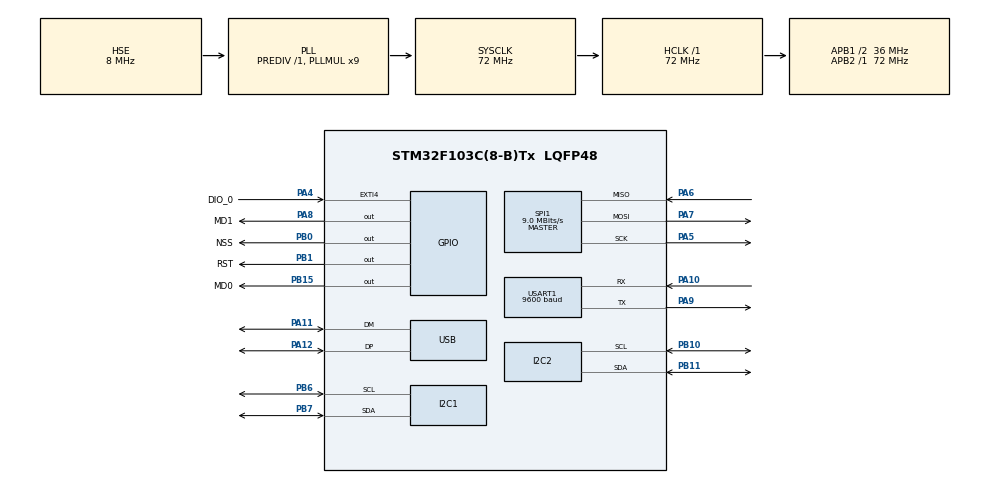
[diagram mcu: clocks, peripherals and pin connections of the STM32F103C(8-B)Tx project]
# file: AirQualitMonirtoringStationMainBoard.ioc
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Mcu.Family=STM32F1
Mcu.Name=STM32F103C(8-B)Tx
Mcu.Package=LQFP48
NVIC.EXTI4_IRQn=true\:0\:0\:false\:false\:true\:true\:true\:true
NVIC.PriorityGroup=NVIC_PRIORITYGROUP_4
NVIC.USB_LP_CAN1_RX0_IRQn=true\:0\:0\:false\:false\:true\:false\:true\:true
PA10.Mode=Asynchronous
PA10.Signal=USART1_RX
PA11.Mode=Device
PA11.Signal=USB_DM
PA12.Mode=Device
PA12.Signal=USB_DP
PA13.Mode=Serial_Wire
PA13.Signal=SYS_JTMS-SWDIO
PA14.Mode=Serial_Wire
PA14.Signal=SYS_JTCK-SWCLK
PA4.GPIO_Label=DIO_0
PA4.Signal=GPXTI4
PA5.Mode=Full_Duplex_Master
PA5.Signal=SPI1_SCK
PA6.Mode=Full_Duplex_Master
PA6.Signal=SPI1_MISO
PA7.Mode=Full_Duplex_Master
PA7.Signal=SPI1_MOSI
PA8.GPIO_Label=MD1
PA8.Signal=GPIO_Output
PA9.Mode=Asynchronous
PA9.Signal=USART1_TX
PB0.GPIO_Label=NSS
PB0.PinState=GPIO_PIN_SET
PB0.Signal=GPIO_Output
PB1.GPIO_Label=RST
PB1.PinState=GPIO_PIN_SET
PB1.Signal=GPIO_Output
PB10.Mode=I2C
PB10.Signal=I2C2_SCL
PB11.Mode=I2C
PB11.Signal=I2C2_SDA
PB15.GPIO_Label=MD0
PB15.Signal=GPIO_Output
PB6.Mode=I2C
PB6.Signal=I2C1_SCL
PB7.Mode=I2C
PB7.Signal=I2C1_SDA
PD0-OSC_IN.Mode=HSE-External-Oscillator
PD0-OSC_IN.Signal=RCC_OSC_IN
PD1-OSC_OUT.Mode=HSE-External-Oscillator
PD1-OSC_OUT.Signal=RCC_OSC_OUT
ProjectManager.HeapSize=0x200
ProjectManager.StackSize=0x400
ProjectManager.TargetToolchain=STM32CubeIDE
RCC.AHBFreq_Value=72000000
RCC.APB1CLKDivider=RCC_HCLK_DIV2
RCC.APB1Freq_Value=36000000
RCC.APB1TimFreq_Value=72000000
RCC.APB2Freq_Value=72000000
RCC.APB2TimFreq_Value=72000000
RCC.HCLKFreq_Value=72000000
RCC.PLLMUL=RCC_PLL_MUL9
RCC.SYSCLKFreq_VALUE=72000000
RCC.SYSCLKSource=RCC_SYSCLKSOURCE_PLLCLK
RCC.USBFreq_Value=48000000
RCC.USBPrescaler=RCC_USBCLKSOURCE_PLL_DIV1_5
SPI1.BaudRatePrescaler=SPI_BAUDRATEPRESCALER_8
SPI1.CalculateBaudRate=9.0 MBits/s
SPI1.Direction=SPI_DIRECTION_2LINES
SPI1.Mode=SPI_MODE_MASTER
SPI1.VirtualType=VM_MASTER
USART1.BaudRate=9600
USART1.VirtualMode=VM_ASYNC
USB_DEVICE.CLASS_NAME_FS=CDC
USB_DEVICE.VirtualMode=Cdc
USB_DEVICE.VirtualModeFS=Cdc_FS
VP_USB_DEVICE_VS_USB_DEVICE_CDC_FS.Mode=CDC_FS
board=custom

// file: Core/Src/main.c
/* USER CODE BEGIN Header */
/**
  ******************************************************************************
  * @file           : main.c
  * @brief          : Main program body
  ******************************************************************************
  * @attention
  *
  * Copyright (c) 2023 STMicroelectronics.
  * All rights reserved.
  *
  * This software is licensed under terms that can be found in the LICENSE file
  * in the root directory of this software component.
  * If no LICENSE file comes with this software, it is provided AS-IS.
  *
  ******************************************************************************
  */
/* USER CODE END Header */
#include "main.h"
#include "usb_device.h"

/* USER CODE BEGIN Includes */
#include "CommandConfig.h"
#include "Command.h"
#include "LCD.h"
#include "LCDConfig.h"
#include "Communication.h"
#include "Geometry.h"
#include "string.h"
#include "SensorList.h"
#include "LoRa.h"
#include "MainProcess.h"
//#include "sx1278.h"
//#include "SX1278.h"
/* USER CODE END Includes */

I2C_HandleTypeDef hi2c1;
I2C_HandleTypeDef hi2c2;

SPI_HandleTypeDef hspi1;

UART_HandleTypeDef huart1;

/* USER CODE BEGIN PV */
uint8_t u8RxData = 0;
Communication_Instance *sGeometry;
uint8_t u8DataIndex = 0;
char chStationId[ID_LENGTH] = "504e6df9-dc91-4557-8059-8caf386825cc";
uint32_t u32UpdateTime = 25;

//lora_pins_t lora_pins;												// Structure variable for lora pins
//lora_t lora;
//uint8_t lora_status;

/* USER CODE END PV */

void SystemClock_Config(void);
static void MX_GPIO_Init(void);
static void MX_I2C1_Init(void);
static void MX_I2C2_Init(void);
static void MX_SPI1_Init(void);
static void MX_USART1_UART_Init(void);

int main(void)
{

  /* MCU Configuration--------------------------------------------------------*/

  /* Reset of all peripherals, Initializes the Flash interface and the Systick. */
  HAL_Init();

  /* Configure the system clock */
  SystemClock_Config();

  /* Initialize all configured peripherals */
  MX_GPIO_Init();
  MX_USB_DEVICE_Init();
  MX_I2C1_Init();
  MX_I2C2_Init();
  MX_SPI1_Init();
  MX_USART1_UART_Init();
  /* USER CODE BEGIN 2 */

  LCD_GlobalOff();
  LoRa_Init(&huart1, MD0_GPIO_Port, MD0_Pin, MD1_GPIO_Port, MD1_Pin);

  Command_Init();
  Command_RegisterDefaultCallback(Command_DefaultResponse);
  Command_Register("lcd", Command_LCDCommandResponse, "Lcd command: "
		  "Action:\n"
		  "\tClear: Clear all text in the screen\n"
		  "\tTest: Send a \"LCD Testing\""
		  "\tReset: Reset the LCD");
  Command_Register("i2c", Command_I2CCommandResponse, "I2c command: "
		  "Action:\n"
		  "\tArgument:\n"
		  "\t\tAddress: 2 characters\n"
		  "\t\tValue: string");
  Command_Register("sensors", Command_SensorsCommandResponse, "Sensors command: "
  		  "Action:\n"
  		  "\tCount\n");
  Command_Register("lora", Command_LoRaCommandResponse, "LoRa command: "
		  "Send:\n");
  Command_Register("spi", Command_SPICommandResponse, "SPI command: read");
  Command_Register("main", Command_MainCommandResponse, "Main command");

  LCD_SetAddress(0x4e);
  LCD_SetSendI2CData(I2CSendData);
  HAL_Delay(50);
  LCD_Init();
  HAL_Delay(50);
  LCD_Init();
  HAL_Delay(50);
  LCD_Init();
  LCD_Clear();

  Sensors_Init();
  InitializeSuccess();
  /* USER CODE END 2 */

  /* Infinite loop */
  /* USER CODE BEGIN WHILE */
  while (1)
  {
	  Command_Update();
	  MainProcess();
//	  Communication_Update(sGeometry);

    /* USER CODE END WHILE */

  }
}

void SystemClock_Config(void)
{
  RCC_OscInitTypeDef RCC_OscInitStruct = {0};
  RCC_ClkInitTypeDef RCC_ClkInitStruct = {0};
  RCC_PeriphCLKInitTypeDef PeriphClkInit = {0};

  /** Initializes the RCC Oscillators according to the specified parameters
  * in the RCC_OscInitTypeDef structure.
  */
  RCC_OscInitStruct.OscillatorType = RCC_OSCILLATORTYPE_HSE;
  RCC_OscInitStruct.HSEState = RCC_HSE_ON;
  RCC_OscInitStruct.HSEPredivValue = RCC_HSE_PREDIV_DIV1;
  RCC_OscInitStruct.HSIState = RCC_HSI_ON;
  RCC_OscInitStruct.PLL.PLLState = RCC_PLL_ON;
  RCC_OscInitStruct.PLL.PLLSource = RCC_PLLSOURCE_HSE;
  RCC_OscInitStruct.PLL.PLLMUL = RCC_PLL_MUL9;
  if (HAL_RCC_OscConfig(&RCC_OscInitStruct) != HAL_OK)
  {
    Error_Handler();
  }

  /** Initializes the CPU, AHB and APB buses clocks
  */
  RCC_ClkInitStruct.ClockType = RCC_CLOCKTYPE_HCLK|RCC_CLOCKTYPE_SYSCLK
                              |RCC_CLOCKTYPE_PCLK1|RCC_CLOCKTYPE_PCLK2;
  RCC_ClkInitStruct.SYSCLKSource = RCC_SYSCLKSOURCE_PLLCLK;
  RCC_ClkInitStruct.AHBCLKDivider = RCC_SYSCLK_DIV1;
  RCC_ClkInitStruct.APB1CLKDivider = RCC_HCLK_DIV2;
  RCC_ClkInitStruct.APB2CLKDivider = RCC_HCLK_DIV1;

  if (HAL_RCC_ClockConfig(&RCC_ClkInitStruct, FLASH_LATENCY_2) != HAL_OK)
  {
    Error_Handler();
  }
  PeriphClkInit.PeriphClockSelection = RCC_PERIPHCLK_USB;
  PeriphClkInit.UsbClockSelection = RCC_USBCLKSOURCE_PLL_DIV1_5;
  if (HAL_RCCEx_PeriphCLKConfig(&PeriphClkInit) != HAL_OK)
  {
    Error_Handler();
  }
}

static void MX_I2C1_Init(void)
{

  hi2c1.Instance = I2C1;
  hi2c1.Init.ClockSpeed = 100000;
  hi2c1.Init.DutyCycle = I2C_DUTYCYCLE_2;
  hi2c1.Init.OwnAddress1 = 0;
  hi2c1.Init.AddressingMode = I2C_ADDRESSINGMODE_7BIT;
  hi2c1.Init.DualAddressMode = I2C_DUALADDRESS_DISABLE;
  hi2c1.Init.OwnAddress2 = 0;
  hi2c1.Init.GeneralCallMode = I2C_GENERALCALL_DISABLE;
  hi2c1.Init.NoStretchMode = I2C_NOSTRETCH_DISABLE;
  if (HAL_I2C_Init(&hi2c1) != HAL_OK)
  {
    Error_Handler();
  }

}

static void MX_I2C2_Init(void)
{

  hi2c2.Instance = I2C2;
  hi2c2.Init.ClockSpeed = 100000;
  hi2c2.Init.DutyCycle = I2C_DUTYCYCLE_2;
  hi2c2.Init.OwnAddress1 = 0;
  hi2c2.Init.AddressingMode = I2C_ADDRESSINGMODE_7BIT;
  hi2c2.Init.DualAddressMode = I2C_DUALADDRESS_DISABLE;
  hi2c2.Init.OwnAddress2 = 0;
  hi2c2.Init.GeneralCallMode = I2C_GENERALCALL_DISABLE;
  hi2c2.Init.NoStretchMode = I2C_NOSTRETCH_DISABLE;
  if (HAL_I2C_Init(&hi2c2) != HAL_OK)
  {
    Error_Handler();
  }

}

static void MX_SPI1_Init(void)
{

  /* SPI1 parameter configuration*/
  hspi1.Instance = SPI1;
  hspi1.Init.Mode = SPI_MODE_MASTER;
  hspi1.Init.Direction = SPI_DIRECTION_2LINES;
  hspi1.Init.DataSize = SPI_DATASIZE_8BIT;
  hspi1.Init.CLKPolarity = SPI_POLARITY_LOW;
  hspi1.Init.CLKPhase = SPI_PHASE_1EDGE;
  hspi1.Init.NSS = SPI_NSS_SOFT;
  hspi1.Init.BaudRatePrescaler = SPI_BAUDRATEPRESCALER_8;
  hspi1.Init.FirstBit = SPI_FIRSTBIT_MSB;
  hspi1.Init.TIMode = SPI_TIMODE_DISABLE;
  hspi1.Init.CRCCalculation = SPI_CRCCALCULATION_DISABLE;
  hspi1.Init.CRCPolynomial = 10;
  if (HAL_SPI_Init(&hspi1) != HAL_OK)
  {
    Error_Handler();
  }

}

static void MX_USART1_UART_Init(void)
{

  huart1.Instance = USART1;
  huart1.Init.BaudRate = 9600;
  huart1.Init.WordLength = UART_WORDLENGTH_8B;
  huart1.Init.StopBits = UART_STOPBITS_1;
  huart1.Init.Parity = UART_PARITY_NONE;
  huart1.Init.Mode = UART_MODE_TX_RX;
  huart1.Init.HwFlowCtl = UART_HWCONTROL_NONE;
  huart1.Init.OverSampling = UART_OVERSAMPLING_16;
  if (HAL_UART_Init(&huart1) != HAL_OK)
  {
    Error_Handler();
  }

}

static void MX_GPIO_Init(void)
{
  GPIO_InitTypeDef GPIO_InitStruct = {0};

  /* GPIO Ports Clock Enable */
  __HAL_RCC_GPIOD_CLK_ENABLE();
  __HAL_RCC_GPIOA_CLK_ENABLE();
  __HAL_RCC_GPIOB_CLK_ENABLE();

  /*Configure GPIO pin Output Level */
  HAL_GPIO_WritePin(GPIOB, NSS_Pin|RST_Pin, GPIO_PIN_SET);

  /*Configure GPIO pin Output Level */
  HAL_GPIO_WritePin(MD0_GPIO_Port, MD0_Pin, GPIO_PIN_RESET);

  /*Configure GPIO pin Output Level */
  HAL_GPIO_WritePin(MD1_GPIO_Port, MD1_Pin, GPIO_PIN_RESET);

  /*Configure GPIO pin : DIO_0_Pin */
  GPIO_InitStruct.Pin = DIO_0_Pin;
  GPIO_InitStruct.Mode = GPIO_MODE_IT_RISING;
  GPIO_InitStruct.Pull = GPIO_NOPULL;
  HAL_GPIO_Init(DIO_0_GPIO_Port, &GPIO_InitStruct);

  /*Configure GPIO pins : NSS_Pin RST_Pin MD0_Pin */
  GPIO_InitStruct.Pin = NSS_Pin|RST_Pin|MD0_Pin;
  GPIO_InitStruct.Mode = GPIO_MODE_OUTPUT_PP;
  GPIO_InitStruct.Pull = GPIO_NOPULL;
  GPIO_InitStruct.Speed = GPIO_SPEED_FREQ_LOW;
  HAL_GPIO_Init(GPIOB, &GPIO_InitStruct);

  /*Configure GPIO pin : MD1_Pin */
  GPIO_InitStruct.Pin = MD1_Pin;
  GPIO_InitStruct.Mode = GPIO_MODE_OUTPUT_PP;
  GPIO_InitStruct.Pull = GPIO_NOPULL;
  GPIO_InitStruct.Speed = GPIO_SPEED_FREQ_LOW;
  HAL_GPIO_Init(MD1_GPIO_Port, &GPIO_InitStruct);

  /* EXTI interrupt init*/
  HAL_NVIC_SetPriority(EXTI4_IRQn, 0, 0);
  HAL_NVIC_EnableIRQ(EXTI4_IRQn);

}

void Error_Handler(void)
{
  __disable_irq();
  while (1)
  {
  }
}
